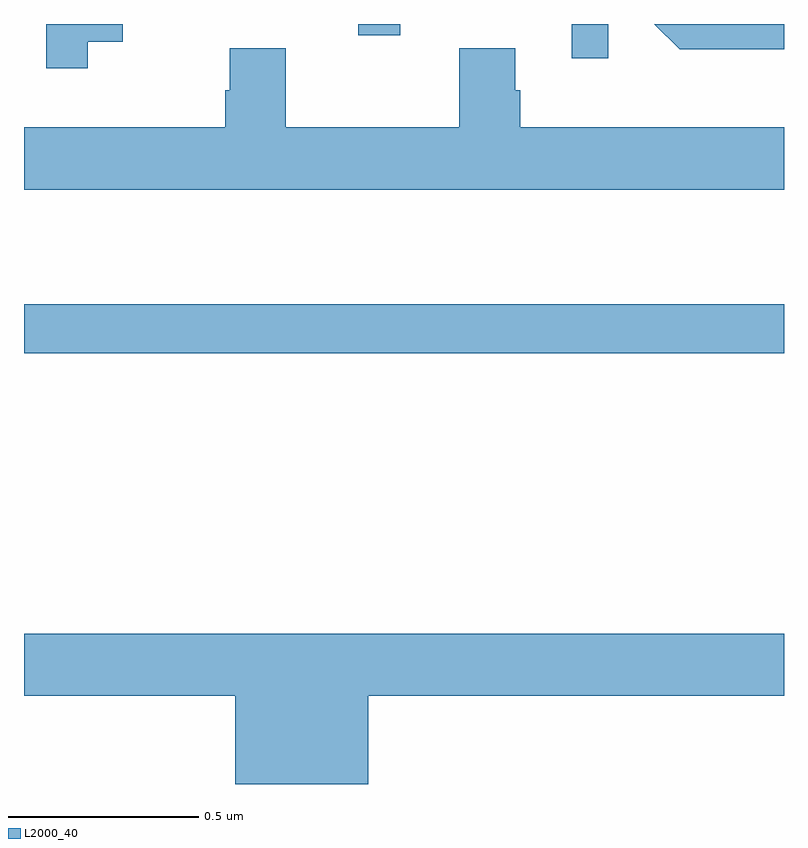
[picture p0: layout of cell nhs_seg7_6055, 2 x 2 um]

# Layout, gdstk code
import gdstk
lib = gdstk.Library(unit=1e-6, precision=1e-09)
def R(c, l, rs):  # rectangles x0, y0, x1, y1
    for r in rs: c.add(gdstk.rectangle(r[:2], r[2:], *l))
def P(c, l, *ps):  # polygons
    for p in ps: c.add(gdstk.Polygon(p, *l))
L2000_40 = (2000, 40)

nhs_seg7_6055 = lib.new_cell('nhs_seg7_6055')
R(nhs_seg7_6055, L2000_40, [(193,1052.134,195,1052.263), (194.441,1052.91,194.538,1053), (193.879,1052.97,193.99,1053)])
P(nhs_seg7_6055, L2000_40, [(193.168,1052.953),(193.26,1052.953),(193.26,1053),(193.059,1053),(193.059,1052.883),(193.168,1052.883)],
  [(195,1053),(194.658,1053),(194.726,1052.933),(195,1052.933)],
  [(195,1052.728),(194.306,1052.728),(194.306,1052.826),(194.293,1052.826),(194.293,1052.936),(194.146,1052.936),(194.146,1052.728),(193.689,1052.728),(193.689,1052.936),(193.541,1052.936),(193.541,1052.826),(193.529,1052.826),(193.529,1052.728),(193,1052.728),(193,1052.564),(195,1052.564)],
  [(193.906,1051.232),(195,1051.232),(195,1051.396),(193,1051.396),(193,1051.232),(193.556,1051.232),(193.556,1051),(193.906,1051)])

lib.write_gds('nhs_seg7_6055.gds')
